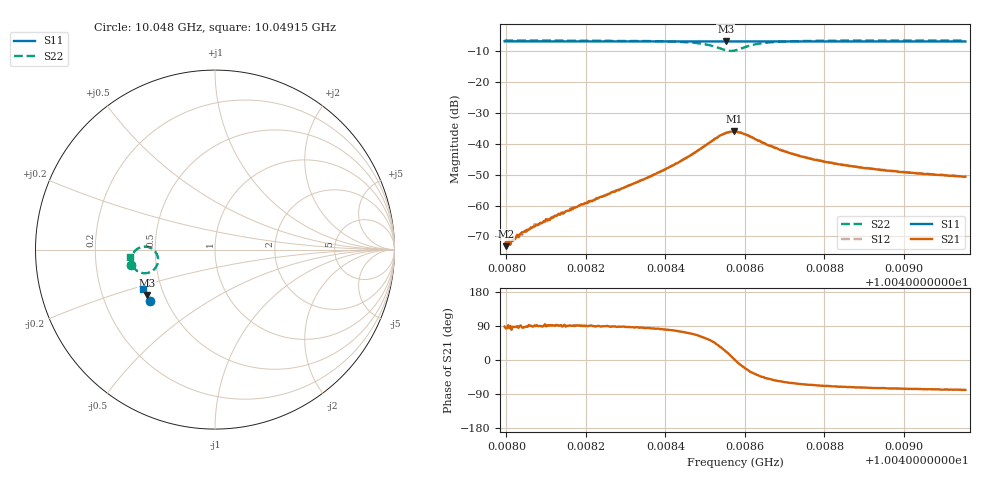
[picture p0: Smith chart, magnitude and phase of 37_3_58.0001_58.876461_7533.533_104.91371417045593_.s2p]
#  HZ  S  RI  R  50.00
! Rohde & Schwarz Vector Network Analyzer
! Rohde-Schwarz,ZNB20-2Port,1311601062101988,3.16
! Created: UTC 3/21/2024, 12:51:56 AM
! freq[Hz]  re:S11  im:S11  re:S21  im:S21  re:S12  im:S12  re:S22  im:S22
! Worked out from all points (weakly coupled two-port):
!   401 points, 10.048 GHz to 10.04915 GHz, reference 50 ohm
!   highest |S21| = -35.96 dB at 10.04857 GHz (marker M1); lowest = -73.2 dB at 10.048 GHz (marker M2)
!   lowest |S11| = -6.8 dB at 10.04855 GHz (marker M3), VSWR 2.68, Z = 20.1 - j12.9 ohm
!   |S11| at or under -10 dB: nowhere
!   |S22| runs from -9.9 to -6.5 dB; largest |S21 - S12| = 0.0012
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1.0047996e10  -0.3607 -0.2847  7.61e-06 0.000234  1.4e-05 0.000237  -0.4664 -0.0853
1.0047998e10  -0.3608 -0.2846  2.51e-05 0.000218  2.25e-06 0.000259  -0.4664 -0.0852
1.0048016e10  -0.3614 -0.2836  1.04e-05 0.000269  2.48e-06 0.000266  -0.4665 -0.0835
1.004803e10  -0.3621 -0.2828  2.75e-05 0.000304  -1.32e-05 0.000311  -0.4668 -0.0821
1.0048039e10  -0.3624 -0.2823  2.5e-05 0.000366  1.43e-06 0.00033  -0.4667 -0.0813
1.0048068e10  -0.3635 -0.2808  1.29e-05 0.000455  -6.3e-05 0.000445  -0.467 -0.0784
1.004819e10  -0.3683 -0.2742  -2.04e-05 0.00105  -8.91e-05 0.00104  -0.4674 -0.0649
1.0048288e10  -0.372 -0.2686  6.34e-05 0.00186  -2.46e-05 0.00186  -0.4662 -0.0506
1.0048384e10  -0.3756 -0.2632  0.000444 0.00343  0.00028 0.00347  -0.4604 -0.03
1.0048436e10  -0.3774 -0.2602  0.00128 0.00497  0.00101 0.00508  -0.4505 -0.0127
1.0048488e10  -0.3791 -0.2569  0.00382 0.00734  0.0034 0.0076  -0.4226 0.00975
1.0048526e10  -0.3799 -0.2546  0.00882 0.00849  0.00831 0.00899  -0.3739 0.0149
1.0048552e10  -0.3802 -0.2533  0.0138 0.00577  0.0134 0.0067  -0.3295 -0.016
1.0048572e10  -0.3807 -0.2527  0.0159 0.000859  0.0157 0.00174  -0.3173 -0.0651
1.0048575e10  -0.3808 -0.2525  0.0159 -1.43e-05  0.0157 0.00107  -0.3185 -0.0726
1.0048607e10  -0.3822 -0.2515  0.0124 -0.00606  0.0129 -0.00524  -0.3611 -0.1249
1.0048648e10  -0.3841 -0.2495  0.00725 -0.0074  0.00778 -0.00691  -0.4132 -0.1284
1.00487e10  -0.3861 -0.2465  0.00395 -0.00643  0.00443 -0.0062  -0.4432 -0.1111
1.0048769e10  -0.3887 -0.2423  0.00231 -0.00516  0.00263 -0.00507  -0.4583 -0.0919
1.0048842e10  -0.3912 -0.2381  0.00154 -0.00436  0.00179 -0.00427  -0.4648 -0.0779
1.0048963e10  -0.3953 -0.2311  0.000954 -0.00352  0.0012 -0.00349  -0.4698 -0.0611
1.0049155e10  -0.4013 -0.2198  0.000568 -0.00288  0.000764 -0.00288  -0.4729 -0.0415
